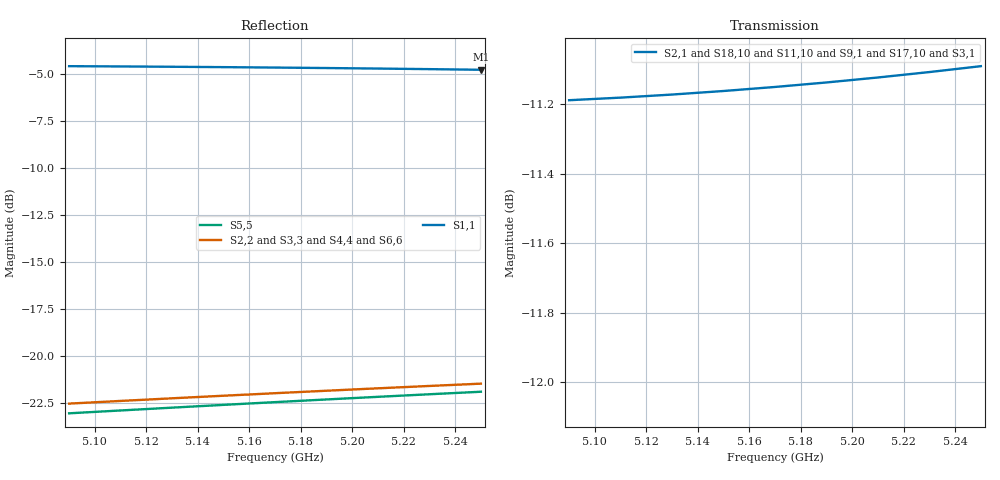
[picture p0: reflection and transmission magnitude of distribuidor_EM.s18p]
! Touchstone file exported from HFSS 2024.2.0
!  File:  D:/dev/EMBRAER/P1H/Divisor_PTFE/Distribuicao_PTFE_2x8.aedt
!  Generated:  12:37:07 PM Nov  6, 2026
!  Design:  Duplo_Wilkinson
!  Project:  Distribuicao_PTFE_2x8
!  Setup:  Divisor
!  Solution:  Banda
# GHz S RI R 50.000000
! Terminal data exported
! Port[1] = A_IN
! Port[2] = A1
! Port[3] = A2
! Port[4] = A3
! Port[5] = A4
! Port[6] = A5
! Port[7] = A6
! Port[8] = A7
! Port[9] = A8
! Port[10] = B_IN
! Port[11] = B1
! Port[12] = B2
! Port[13] = B3
! Port[14] = B4
! Port[15] = B5
! Port[16] = B6
! Port[17] = B7
! Port[18] = B8
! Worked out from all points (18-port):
!   9 points, 5.09 GHz to 5.25 GHz, reference 50 ohm
!   strongest paths, dB at 5.09 GHz, 5.13 GHz, 5.17 GHz, 5.21 GHz, 5.25 GHz:
!     S2,1: -11.2, -11.2, -11.1, -11.1, -11.1
!     S18,10: -11.2, -11.2, -11.1, -11.1, -11.1
!     S11,10: -11.2, -11.2, -11.2, -11.1, -11.1
!     S9,1: -11.2, -11.2, -11.2, -11.1, -11.1
!     S17,10: -11.2, -11.2, -11.2, -11.2, -11.1
!     S3,1: -11.2, -11.2, -11.2, -11.2, -11.1
!   lowest |S11| = -4.8 dB at 5.25 GHz (marker M1), VSWR 3.73, Z = 185 + j15.9 ohm
!   |S11| at or under -10 dB: nowhere
